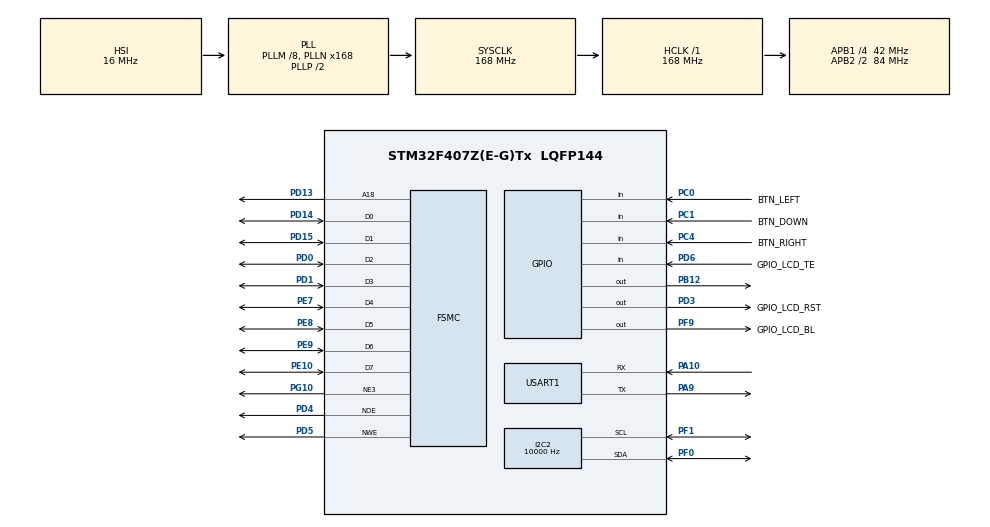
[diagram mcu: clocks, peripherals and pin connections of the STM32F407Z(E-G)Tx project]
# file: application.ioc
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FSMC.BusTurnAroundDuration3=0
FSMC.DataSetupTime3=60
FSMC.ExtendedAddressSetupTime3=9
FSMC.ExtendedBusTurnAroundDuration3=0
FSMC.ExtendedDataSetupTime3=8
FSMC.ExtendedMode3=FSMC_EXTENDED_MODE_ENABLE
I2C2.ClockSpeed=10000
Mcu.Family=STM32F4
Mcu.Name=STM32F407Z(E-G)Tx
Mcu.Package=LQFP144
NVIC.PriorityGroup=NVIC_PRIORITYGROUP_4
NVIC.TIM6_DAC_IRQn=true\:0\:0\:false\:false\:true\:true\:true\:true
NVIC.TIM7_IRQn=true\:0\:0\:false\:false\:true\:true\:true\:true
PA10.Mode=Asynchronous
PA10.Signal=USART1_RX
PA13.Mode=Serial_Wire
PA13.Signal=SYS_JTMS-SWDIO
PA14.Mode=Serial_Wire
PA14.Signal=SYS_JTCK-SWCLK
PA9.Mode=Asynchronous
PA9.Signal=USART1_TX
PB12.GPIO_ModeDefaultOutputPP=GPIO_MODE_OUTPUT_PP
PB12.GPIO_Speed=GPIO_SPEED_FREQ_HIGH
PB12.PinState=GPIO_PIN_SET
PB12.Signal=GPIO_Output
PC0.GPIO_Label=BTN_LEFT
PC0.GPIO_PuPd=GPIO_PULLUP
PC0.Signal=GPIO_Input
PC1.GPIO_Label=BTN_DOWN
PC1.GPIO_PuPd=GPIO_PULLUP
PC1.Signal=GPIO_Input
PC14-OSC32_IN.Mode=LSE-External-Oscillator
PC14-OSC32_IN.Signal=RCC_OSC32_IN
PC15-OSC32_OUT.Mode=LSE-External-Oscillator
PC15-OSC32_OUT.Signal=RCC_OSC32_OUT
PC4.GPIO_Label=BTN_RIGHT
PC4.GPIO_PuPd=GPIO_PULLUP
PC4.Signal=GPIO_Input
PD0.Signal=FSMC_D2_DA2
PD1.Signal=FSMC_D3_DA3
PD13.Signal=FSMC_A18
PD14.Signal=FSMC_D0_DA0
PD15.Signal=FSMC_D1_DA1
PD3.GPIO_Label=GPIO_LCD_RST
PD3.Signal=GPIO_Output
PD4.Signal=FSMC_NOE
PD5.Signal=FSMC_NWE
PD6.GPIO_Label=GPIO_LCD_TE
PD6.Signal=GPIO_Input
PE10.Signal=FSMC_D7_DA7
PE7.Signal=FSMC_D4_DA4
PE8.Signal=FSMC_D5_DA5
PE9.Signal=FSMC_D6_DA6
PF0.Mode=I2C
PF0.Signal=I2C2_SDA
PF1.Mode=I2C
PF1.Signal=I2C2_SCL
PF9.GPIO_Label=GPIO_LCD_BL
PF9.Signal=GPIO_Output
PG10.Mode=NorPsramChipSelect3_3
PG10.Signal=FSMC_NE3
PH0-OSC_IN.Mode=HSE-External-Oscillator
PH0-OSC_IN.Signal=RCC_OSC_IN
PH1-OSC_OUT.Mode=HSE-External-Oscillator
PH1-OSC_OUT.Signal=RCC_OSC_OUT
ProjectManager.HeapSize=0x2000
ProjectManager.StackSize=0x1200
ProjectManager.TargetToolchain=CMake
RCC.48MHZClocksFreq_Value=84000000
RCC.AHBFreq_Value=168000000
RCC.APB1CLKDivider=RCC_HCLK_DIV4
RCC.APB1Freq_Value=42000000
RCC.APB1TimFreq_Value=84000000
RCC.APB2CLKDivider=RCC_HCLK_DIV2
RCC.APB2Freq_Value=84000000
RCC.APB2TimFreq_Value=168000000
RCC.CortexFreq_Value=168000000
RCC.HCLKFreq_Value=168000000
RCC.HSE_VALUE=8000000
RCC.HSI_VALUE=16000000
RCC.PLLM=8
RCC.PLLN=168
RCC.SYSCLKFreq_VALUE=168000000
RCC.SYSCLKSource=RCC_SYSCLKSOURCE_PLLCLK
RCC.VCOOutputFreq_Value=336000000
SH.FSMC_A18.0=FSMC_A18,A18_3
SH.FSMC_D0_DA0.0=FSMC_D0,8b-d3
SH.FSMC_D1_DA1.0=FSMC_D1,8b-d3
SH.FSMC_D2_DA2.0=FSMC_D2,8b-d3
SH.FSMC_D3_DA3.0=FSMC_D3,8b-d3
SH.FSMC_D4_DA4.0=FSMC_D4,8b-d3
SH.FSMC_D5_DA5.0=FSMC_D5,8b-d3
SH.FSMC_D6_DA6.0=FSMC_D6,8b-d3
SH.FSMC_D7_DA7.0=FSMC_D7,8b-d3
SH.FSMC_NOE.0=FSMC_NOE,Lcd3
SH.FSMC_NWE.0=FSMC_NWE,Lcd3
TIM6.AutoReloadPreload=TIM_AUTORELOAD_PRELOAD_DISABLE
TIM6.Period=1000
TIM6.Prescaler=83
TIM7.Period=20000
TIM7.Prescaler=83
USART1.VirtualMode=VM_ASYNC
VP_TIM6_VS_ClockSourceINT.Mode=Enable_Timer
VP_TIM7_VS_ClockSourceINT.Mode=Enable_Timer
board=custom

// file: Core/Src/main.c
/* USER CODE BEGIN Header */
/**
 ******************************************************************************
 * @file           : main.c
 * @brief          : Main program body
 ******************************************************************************
 * @attention
 *
 * Copyright (c) 2025 STMicroelectronics.
 * All rights reserved.
 *
 * This software is licensed under terms that can be found in the LICENSE file
 * in the root directory of this software component.
 * If no LICENSE file comes with this software, it is provided AS-IS.
 *
 ******************************************************************************
 */
/* USER CODE END Header */
#include "main.h"

/* USER CODE BEGIN Includes */
#include "lcd.h"
#include "stm32f4xx_hal.h"
#include "stm32f4xx_hal_def.h"
#include "stm32f4xx_hal_gpio.h"
#include "stm32f4xx_hal_tim.h"
#include "stm32f4xx_hal_uart.h"
#include <lvgl.h>
#include <stdbool.h>
#include <stdint.h>

/* USER CODE END Includes */

I2C_HandleTypeDef hi2c2;

TIM_HandleTypeDef htim6;
TIM_HandleTypeDef htim7;

UART_HandleTypeDef huart1;

SRAM_HandleTypeDef hsram3;

/* USER CODE BEGIN PV */
volatile uint8_t hour = 8;
volatile uint8_t min = 10;
volatile uint8_t second = 0;
volatile uint16_t millisecond = 0;

bool last_key[3] = {1, 1, 1}, last_key_state[3] = {1, 1, 1},
     key_state[3] = {1, 1, 1};
/* USER CODE END PV */

void SystemClock_Config(void);
static void MX_GPIO_Init(void);
static void MX_FSMC_Init(void);
static void MX_I2C2_Init(void);
static void MX_TIM6_Init(void);
static void MX_TIM7_Init(void);
static void MX_USART1_UART_Init(void);
/* USER CODE BEGIN PFP */

static inline void norm_time() {
  int tmp = millisecond / 1000;
  millisecond = millisecond % 1000;
  second += tmp;
  tmp = second / 60;
  second = second % 60;
  min += tmp;
  tmp = min / 60;
  min = min % 60;
  hour += tmp;
  hour %= 24;
}
void HAL_TIM_PeriodElapsedCallback(TIM_HandleTypeDef *htim) {
  if (htim->Instance == htim7.Instance) {
    last_key_state[0] = key_state[0];
    last_key_state[1] = key_state[1];
    last_key_state[2] = key_state[2];
    key_state[0] = HAL_GPIO_ReadPin(BTN_LEFT_GPIO_Port, BTN_LEFT_Pin);
    key_state[1] = HAL_GPIO_ReadPin(BTN_DOWN_GPIO_Port, BTN_DOWN_Pin);
    key_state[2] = HAL_GPIO_ReadPin(BTN_RIGHT_GPIO_Port, BTN_RIGHT_Pin);
    if (last_key_state[0] == key_state[0]) {
      if (!last_key[0] && key_state[0]) {
        hour += 1;
      }
      last_key[0] = key_state[0];
    }
    if (last_key_state[1] == key_state[0]) {
      if (!last_key[1] && key_state[1]) {
        min += 1;
      }
      last_key[1] = key_state[1];
    }
    if (last_key_state[2] == key_state[2]) {
      if (!last_key[2] && key_state[2]) {
        second += 1;
      }
      last_key[2] = key_state[2];
    }
    HAL_TIM_Base_Start_IT(&htim7);
  } else if (htim->Instance == htim6.Instance) {
    millisecond += 1;
    HAL_TIM_Base_Start_IT(&htim6);
  } else
    return;
  norm_time();
}
/* USER CODE END PFP */

int main(void) {

  /* MCU Configuration--------------------------------------------------------*/

  /* Reset of all peripherals, Initializes the Flash interface and the Systick.
   */
  HAL_Init();

  /* Configure the system clock */
  SystemClock_Config();

  /* Initialize all configured peripherals */
  MX_GPIO_Init();
  MX_FSMC_Init();
  MX_I2C2_Init();
  MX_TIM6_Init();
  MX_TIM7_Init();
  MX_USART1_UART_Init();
  /* USER CODE BEGIN 2 */
  HAL_TIM_Base_Start_IT(&htim6);
  HAL_TIM_Base_Start_IT(&htim7);
  lv_init();
  lv_obj_t *label = lv_label_create(lv_scr_act());
  lv_obj_align(label, LV_ALIGN_CENTER, 0, 0);
  uint8_t rec[3];
  /* USER CODE END 2 */

  /* Infinite loop */
  /* USER CODE BEGIN WHILE */
  while (1) {
    if (HAL_UART_Rdeceive(&huart1, rec, 3, 1000) == HAL_OK)
      if (rec[0] == 'a' && rec[1] == 'b' && rec[2] == 'c') {
        hour = 18;
        min = 8;
        second = 8;
        norm_time();
      }
    lv_label_set_text_fmt(label, "%d:%d:%d", hour, min, second);
    lv_task_handler();
    HAL_Delay(100);
    /* USER CODE END WHILE */

  }
}

void SystemClock_Config(void) {
  RCC_OscInitTypeDef RCC_OscInitStruct = {0};
  RCC_ClkInitTypeDef RCC_ClkInitStruct = {0};

  /** Configure the main internal regulator output voltage
   */
  __HAL_RCC_PWR_CLK_ENABLE();
  __HAL_PWR_VOLTAGESCALING_CONFIG(PWR_REGULATOR_VOLTAGE_SCALE1);

  /** Initializes the RCC Oscillators according to the specified parameters
   * in the RCC_OscInitTypeDef structure.
   */
  RCC_OscInitStruct.OscillatorType = RCC_OSCILLATORTYPE_HSI;
  RCC_OscInitStruct.HSIState = RCC_HSI_ON;
  RCC_OscInitStruct.HSICalibrationValue = RCC_HSICALIBRATION_DEFAULT;
  RCC_OscInitStruct.PLL.PLLState = RCC_PLL_ON;
  RCC_OscInitStruct.PLL.PLLSource = RCC_PLLSOURCE_HSI;
  RCC_OscInitStruct.PLL.PLLM = 8;
  RCC_OscInitStruct.PLL.PLLN = 168;
  RCC_OscInitStruct.PLL.PLLP = RCC_PLLP_DIV2;
  RCC_OscInitStruct.PLL.PLLQ = 4;
  if (HAL_RCC_OscConfig(&RCC_OscInitStruct) != HAL_OK) {
    Error_Handler();
  }

  /** Initializes the CPU, AHB and APB buses clocks
   */
  RCC_ClkInitStruct.ClockType = RCC_CLOCKTYPE_HCLK | RCC_CLOCKTYPE_SYSCLK |
                                RCC_CLOCKTYPE_PCLK1 | RCC_CLOCKTYPE_PCLK2;
  RCC_ClkInitStruct.SYSCLKSource = RCC_SYSCLKSOURCE_PLLCLK;
  RCC_ClkInitStruct.AHBCLKDivider = RCC_SYSCLK_DIV1;
  RCC_ClkInitStruct.APB1CLKDivider = RCC_HCLK_DIV4;
  RCC_ClkInitStruct.APB2CLKDivider = RCC_HCLK_DIV2;

  if (HAL_RCC_ClockConfig(&RCC_ClkInitStruct, FLASH_LATENCY_5) != HAL_OK) {
    Error_Handler();
  }
}

static void MX_I2C2_Init(void) {

  hi2c2.Instance = I2C2;
  hi2c2.Init.ClockSpeed = 10000;
  hi2c2.Init.DutyCycle = I2C_DUTYCYCLE_2;
  hi2c2.Init.OwnAddress1 = 0;
  hi2c2.Init.AddressingMode = I2C_ADDRESSINGMODE_7BIT;
  hi2c2.Init.DualAddressMode = I2C_DUALADDRESS_DISABLE;
  hi2c2.Init.OwnAddress2 = 0;
  hi2c2.Init.GeneralCallMode = I2C_GENERALCALL_DISABLE;
  hi2c2.Init.NoStretchMode = I2C_NOSTRETCH_DISABLE;
  if (HAL_I2C_Init(&hi2c2) != HAL_OK) {
    Error_Handler();
  }
}

static void MX_TIM6_Init(void) {

  TIM_MasterConfigTypeDef sMasterConfig = {0};

  htim6.Instance = TIM6;
  htim6.Init.Prescaler = 83;
  htim6.Init.CounterMode = TIM_COUNTERMODE_UP;
  htim6.Init.Period = 1000;
  htim6.Init.AutoReloadPreload = TIM_AUTORELOAD_PRELOAD_DISABLE;
  if (HAL_TIM_Base_Init(&htim6) != HAL_OK) {
    Error_Handler();
  }
  sMasterConfig.MasterOutputTrigger = TIM_TRGO_RESET;
  sMasterConfig.MasterSlaveMode = TIM_MASTERSLAVEMODE_DISABLE;
  if (HAL_TIMEx_MasterConfigSynchronization(&htim6, &sMasterConfig) != HAL_OK) {
    Error_Handler();
  }
}

static void MX_TIM7_Init(void) {

  TIM_MasterConfigTypeDef sMasterConfig = {0};

  htim7.Instance = TIM7;
  htim7.Init.Prescaler = 83;
  htim7.Init.CounterMode = TIM_COUNTERMODE_UP;
  htim7.Init.Period = 20000;
  htim7.Init.AutoReloadPreload = TIM_AUTORELOAD_PRELOAD_DISABLE;
  if (HAL_TIM_Base_Init(&htim7) != HAL_OK) {
    Error_Handler();
  }
  sMasterConfig.MasterOutputTrigger = TIM_TRGO_RESET;
  sMasterConfig.MasterSlaveMode = TIM_MASTERSLAVEMODE_DISABLE;
  if (HAL_TIMEx_MasterConfigSynchronization(&htim7, &sMasterConfig) != HAL_OK) {
    Error_Handler();
  }
}

static void MX_USART1_UART_Init(void) {

  huart1.Instance = USART1;
  huart1.Init.BaudRate = 115200;
  huart1.Init.WordLength = UART_WORDLENGTH_8B;
  huart1.Init.StopBits = UART_STOPBITS_1;
  huart1.Init.Parity = UART_PARITY_NONE;
  huart1.Init.Mode = UART_MODE_TX_RX;
  huart1.Init.HwFlowCtl = UART_HWCONTROL_NONE;
  huart1.Init.OverSampling = UART_OVERSAMPLING_16;
  if (HAL_UART_Init(&huart1) != HAL_OK) {
    Error_Handler();
  }
}

static void MX_GPIO_Init(void) {
  GPIO_InitTypeDef GPIO_InitStruct = {0};

  /* GPIO Ports Clock Enable */
  __HAL_RCC_GPIOC_CLK_ENABLE();
  __HAL_RCC_GPIOF_CLK_ENABLE();
  __HAL_RCC_GPIOH_CLK_ENABLE();
  __HAL_RCC_GPIOE_CLK_ENABLE();
  __HAL_RCC_GPIOB_CLK_ENABLE();
  __HAL_RCC_GPIOD_CLK_ENABLE();
  __HAL_RCC_GPIOA_CLK_ENABLE();
  __HAL_RCC_GPIOG_CLK_ENABLE();

  /*Configure GPIO pin Output Level */
  HAL_GPIO_WritePin(GPIO_LCD_BL_GPIO_Port, GPIO_LCD_BL_Pin, GPIO_PIN_RESET);

  /*Configure GPIO pin Output Level */
  HAL_GPIO_WritePin(GPIOB, GPIO_PIN_12, GPIO_PIN_SET);

  /*Configure GPIO pin Output Level */
  HAL_GPIO_WritePin(GPIO_LCD_RST_GPIO_Port, GPIO_LCD_RST_Pin, GPIO_PIN_RESET);

  /*Configure GPIO pin : GPIO_LCD_BL_Pin */
  GPIO_InitStruct.Pin = GPIO_LCD_BL_Pin;
  GPIO_InitStruct.Mode = GPIO_MODE_OUTPUT_PP;
  GPIO_InitStruct.Pull = GPIO_NOPULL;
  GPIO_InitStruct.Speed = GPIO_SPEED_FREQ_LOW;
  HAL_GPIO_Init(GPIO_LCD_BL_GPIO_Port, &GPIO_InitStruct);

  /*Configure GPIO pins : BTN_LEFT_Pin BTN_DOWN_Pin BTN_RIGHT_Pin */
  GPIO_InitStruct.Pin = BTN_LEFT_Pin | BTN_DOWN_Pin | BTN_RIGHT_Pin;
  GPIO_InitStruct.Mode = GPIO_MODE_INPUT;
  GPIO_InitStruct.Pull = GPIO_PULLUP;
  HAL_GPIO_Init(GPIOC, &GPIO_InitStruct);

  /*Configure GPIO pin : PB12 */
  GPIO_InitStruct.Pin = GPIO_PIN_12;
  GPIO_InitStruct.Mode = GPIO_MODE_OUTPUT_PP;
  GPIO_InitStruct.Pull = GPIO_NOPULL;
  GPIO_InitStruct.Speed = GPIO_SPEED_FREQ_HIGH;
  HAL_GPIO_Init(GPIOB, &GPIO_InitStruct);

  /*Configure GPIO pin : GPIO_LCD_RST_Pin */
  GPIO_InitStruct.Pin = GPIO_LCD_RST_Pin;
  GPIO_InitStruct.Mode = GPIO_MODE_OUTPUT_PP;
  GPIO_InitStruct.Pull = GPIO_NOPULL;
  GPIO_InitStruct.Speed = GPIO_SPEED_FREQ_LOW;
  HAL_GPIO_Init(GPIO_LCD_RST_GPIO_Port, &GPIO_InitStruct);

  /*Configure GPIO pin : GPIO_LCD_TE_Pin */
  GPIO_InitStruct.Pin = GPIO_LCD_TE_Pin;
  GPIO_InitStruct.Mode = GPIO_MODE_INPUT;
  GPIO_InitStruct.Pull = GPIO_NOPULL;
  HAL_GPIO_Init(GPIO_LCD_TE_GPIO_Port, &GPIO_InitStruct);

}

/* FSMC initialization function */
static void MX_FSMC_Init(void) {

  FSMC_NORSRAM_TimingTypeDef Timing = {0};
  FSMC_NORSRAM_TimingTypeDef ExtTiming = {0};

  /** Perform the SRAM3 memory initialization sequence
   */
  hsram3.Instance = FSMC_NORSRAM_DEVICE;
  hsram3.Extended = FSMC_NORSRAM_EXTENDED_DEVICE;
  /* hsram3.Init */
  hsram3.Init.NSBank = FSMC_NORSRAM_BANK3;
  hsram3.Init.DataAddressMux = FSMC_DATA_ADDRESS_MUX_DISABLE;
  hsram3.Init.MemoryType = FSMC_MEMORY_TYPE_SRAM;
  hsram3.Init.MemoryDataWidth = FSMC_NORSRAM_MEM_BUS_WIDTH_8;
  hsram3.Init.BurstAccessMode = FSMC_BURST_ACCESS_MODE_DISABLE;
  hsram3.Init.WaitSignalPolarity = FSMC_WAIT_SIGNAL_POLARITY_LOW;
  hsram3.Init.WrapMode = FSMC_WRAP_MODE_DISABLE;
  hsram3.Init.WaitSignalActive = FSMC_WAIT_TIMING_BEFORE_WS;
  hsram3.Init.WriteOperation = FSMC_WRITE_OPERATION_ENABLE;
  hsram3.Init.WaitSignal = FSMC_WAIT_SIGNAL_DISABLE;
  hsram3.Init.ExtendedMode = FSMC_EXTENDED_MODE_ENABLE;
  hsram3.Init.AsynchronousWait = FSMC_ASYNCHRONOUS_WAIT_DISABLE;
  hsram3.Init.WriteBurst = FSMC_WRITE_BURST_DISABLE;
  hsram3.Init.PageSize = FSMC_PAGE_SIZE_NONE;
  /* Timing */
  Timing.AddressSetupTime = 15;
  Timing.AddressHoldTime = 15;
  Timing.DataSetupTime = 60;
  Timing.BusTurnAroundDuration = 0;
  Timing.CLKDivision = 16;
  Timing.DataLatency = 17;
  Timing.AccessMode = FSMC_ACCESS_MODE_A;
  /* ExtTiming */
  ExtTiming.AddressSetupTime = 9;
  ExtTiming.AddressHoldTime = 15;
  ExtTiming.DataSetupTime = 8;
  ExtTiming.BusTurnAroundDuration = 0;
  ExtTiming.CLKDivision = 16;
  ExtTiming.DataLatency = 17;
  ExtTiming.AccessMode = FSMC_ACCESS_MODE_A;

  if (HAL_SRAM_Init(&hsram3, &Timing, &ExtTiming) != HAL_OK) {
    Error_Handler();
  }

}

void Error_Handler(void) {
  __disable_irq();
  while (1) {
  }
}

#ifdef USE_FULL_ASSERT
/**
 * @brief  Reports the name of the source file and the source line number
 *         where the assert_param error has occurred.
 * @param  file: pointer to the source file name
 * @param  line: assert_param error line source number
 * @retval None
 */
void assert_failed(uint8_t *file, uint32_t line) {
  /* USER CODE BEGIN 6 */
  /* User can add his own implementation to report the file name and line
     number, ex: printf("Wrong parameters value: file %s on line %d\r\n", file,
     line) */
  /* USER CODE END 6 */
}
#endif /* USE_FULL_ASSERT */
